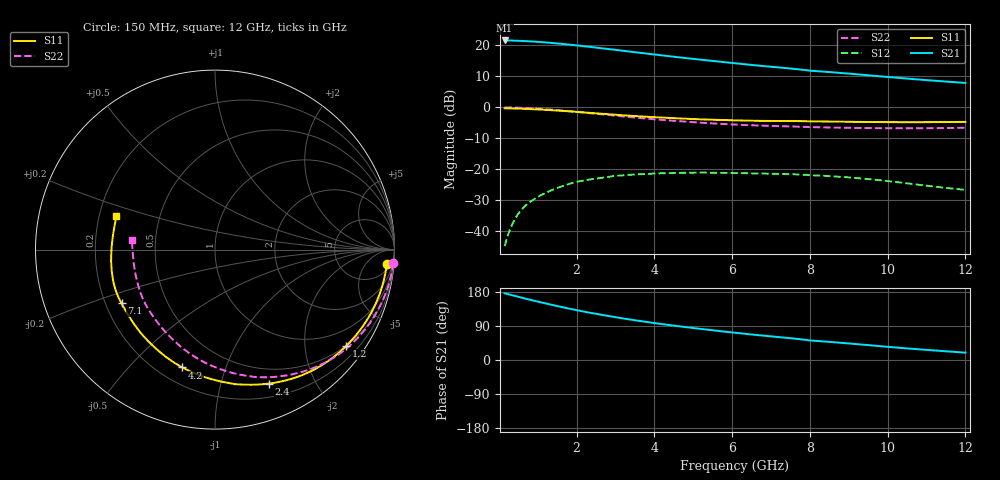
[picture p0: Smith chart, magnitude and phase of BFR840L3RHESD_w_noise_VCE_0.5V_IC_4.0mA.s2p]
! Infineon Technologies  Discrete & RF Semiconductors
! BFR840L3RHESD
! VCE =  0.5 V,  IC =  4.0 mA
! Common Emitter S-Parameters:  Jun 2012
# GHz  S  MA  R  50
!  f  S11  S21  S12  S22
! GHz  MAG  ANG  MAG  ANG  MAG  ANG  MAG  ANG
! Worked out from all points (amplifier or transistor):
!   91 points, 150 MHz to 12 GHz, reference 50 ohm
!   highest |S21| = 21.5 dB at 150 MHz (marker M1)
!   |S21| within 3 dB of that: start of sweep to 2.99 GHz
!   unconditionally stable (mu >= 1): 9.503 GHz to end of sweep
!   at 1.3 GHz: K = 0.08, MSG = 23.9 dB, |S12| = -27.0 dB
!   at 4.3 GHz: K = 0.27, MSG = 18.9 dB, |S12| = -21.2 dB
!   at 12 GHz: K = 2.07, MAG = 11.3 dB, |S12| = -26.6 dB
!   lowest NFmin = 0.46 dB at 450 MHz
!   S11 on the Smith chart (normalised r, x): 150 MHz: 9, -19; 1.2 GHz: 0.49, -2.98; 2.4 GHz: 0.34, -1.43; 4.2 GHz: 0.29, -0.72; 7.1 GHz: 0.27, -0.25; 12 GHz: 0.27, +0.15
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0.15  0.9606 -4.8  11.87 176.1  0.0058 85.4  0.9947 -4.4
0.35  0.9551 -11.1  11.8 170.8  0.0132 79.7  0.9892 -10.3
0.6  0.9447 -18.7  11.64 164.2  0.023 74.0  0.9754 -17.3
0.9  0.9275 -27.6  11.38 156.6  0.0329 68.3  0.9541 -25.6
1.2  0.9071 -36.3  11.03 149.4  0.0416 62.7  0.9284 -33.7
1.4  0.8922 -41.9  10.77 144.7  0.0473 58.9  0.9088 -38.9
1.7  0.868 -50.2  10.34 138.0  0.0555 53.3  0.8761 -46.4
1.9  0.8505 -55.5  10.04 133.7  0.0604 49.6  0.853 -51.2
2.2  0.8231 -63.1  9.575 127.5  0.0664 44.4  0.8179 -58.1
2.4  0.8051 -68.0  9.263 123.7  0.0695 41.1  0.7952 -62.5
3  0.7575 -81.7  8.388 113.0  0.0792 33.1  0.732 -74.6
3.3  0.7337 -88.0  7.951 108.1  0.081 28.6  0.7005 -80.6
3.8  0.7023 -98.0  7.301 100.4  0.0845 22.8  0.6563 -89.7
4.2  0.6813 -105.5  6.826 94.7  0.0864 18.7  0.6259 -96.5
4.6  0.6621 -112.6  6.391 89.4  0.0877 14.8  0.5988 -102.9
5.1  0.6414 -121.2  5.906 83.2  0.0885 10.2  0.569 -110.6
6.1  0.6139 -136.6  5.081 71.7  0.087 2.1  0.5246 -125.0
7.1  0.6007 -150.1  4.422 61.4  0.0847 -4.6  0.4984 -138.1
8  0.593 -163.5  3.874 51.6  0.0806 -11.3  0.4785 -150.9
8.5  0.5876 -168.3  3.681 47.9  0.0778 -13.9  0.4717 -155.6
10.5  0.5739 172.0  2.889 30.6  0.0596 -23.3  0.4582 -175.4
12  0.5804 161.1  2.461 19.4  0.0467 -20.6  0.4667 173.3
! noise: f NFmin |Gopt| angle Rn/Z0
0.45  0.46  0.6  7  0.21
0.9  0.5  0.59  12  0.2
1.9  0.54  0.56  27  0.19
3.5  0.56  0.56  47  0.17
4  0.59  0.56  55  0.17
5.5  0.63  0.57  70  0.15
7  0.72  0.54  89  0.13
8  0.79  0.51  102  0.12
10  0.92  0.46  122  0.1
12  1.1  0.38  153  0.08
